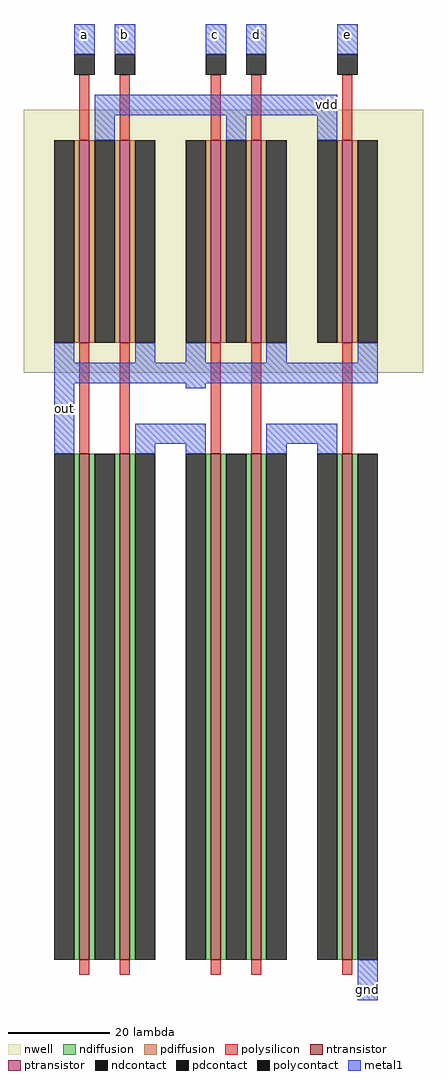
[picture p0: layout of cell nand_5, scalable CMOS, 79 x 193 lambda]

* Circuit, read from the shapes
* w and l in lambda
.subckt nand_5 a b c d e gnd out vdd
M1 n1 a out VSUBS nfet w=100 l=2
M2 n2 b n1 VSUBS nfet w=100 l=2
M3 n3 c n2 VSUBS nfet w=100 l=2
M4 n4 d n3 VSUBS nfet w=100 l=2
M5 gnd e n4 VSUBS nfet w=100 l=2
M6 vdd a out n5 pfet w=40 l=2
M7 out b vdd n5 pfet w=40 l=2
M8 vdd c out n5 pfet w=40 l=2
M9 out d vdd n5 pfet w=40 l=2
M10 out e vdd n5 pfet w=40 l=2
.ends

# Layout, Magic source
magic
tech scmos
<< nwell >>
rect -11 71 68 123
<< ntransistor >>
rect 0 -45 2 55
rect 8 -45 10 55
rect 26 -45 28 55
rect 34 -45 36 55
rect 52 -45 54 55
<< ptransistor >>
rect 0 77 2 117
rect 8 77 10 117
rect 26 77 28 117
rect 34 77 36 117
rect 52 77 54 117
<< ndiffusion >>
rect -1 -45 0 55
rect 2 -45 3 55
rect 7 -45 8 55
rect 10 -45 11 55
rect 25 -45 26 55
rect 28 -45 29 55
rect 33 -45 34 55
rect 36 -45 37 55
rect 51 -45 52 55
rect 54 -45 55 55
<< pdiffusion >>
rect -1 77 0 117
rect 2 77 3 117
rect 7 77 8 117
rect 10 77 11 117
rect 25 77 26 117
rect 28 77 29 117
rect 33 77 34 117
rect 36 77 37 117
rect 51 77 52 117
rect 54 77 55 117
<< ndcontact >>
rect -5 -45 -1 55
rect 3 -45 7 55
rect 11 -45 15 55
rect 21 -45 25 55
rect 29 -45 33 55
rect 37 -45 41 55
rect 47 -45 51 55
rect 55 -45 59 55
<< pdcontact >>
rect -5 77 -1 117
rect 3 77 7 117
rect 11 77 15 117
rect 21 77 25 117
rect 29 77 33 117
rect 37 77 41 117
rect 47 77 51 117
rect 55 77 59 117
<< polysilicon >>
rect 0 117 2 130
rect 8 117 10 130
rect 26 117 28 130
rect 34 117 36 130
rect 52 117 54 130
rect 0 55 2 77
rect 8 55 10 77
rect 26 55 28 77
rect 34 55 36 77
rect 52 55 54 77
rect 0 -48 2 -45
rect 8 -48 10 -45
rect 26 -48 28 -45
rect 34 -48 36 -45
rect 52 -48 54 -45
<< polycontact >>
rect -1 130 3 134
rect 7 130 11 134
rect 25 130 29 134
rect 33 130 37 134
rect 51 130 55 134
<< metal1 >>
rect -1 134 3 140
rect 7 134 11 140
rect 25 134 29 140
rect 33 134 37 140
rect 51 134 55 140
rect 3 122 51 126
rect 3 117 7 122
rect 29 117 33 122
rect 47 117 51 122
rect -5 73 -1 77
rect 11 73 15 77
rect 21 73 25 77
rect 37 73 41 77
rect 55 73 59 77
rect -5 69 59 73
rect -5 55 -1 69
rect 21 68 25 69
rect 11 57 25 61
rect 11 55 15 57
rect 21 55 25 57
rect 37 57 51 61
rect 37 55 41 57
rect 47 55 51 57
rect 55 -53 59 -45
<< labels >>
rlabel metal1 7 136 11 140 5 b
rlabel metal1 -1 136 3 140 5 a
rlabel metal1 -5 62 -1 66 1 out
rlabel metal1 47 122 51 126 1 vdd
rlabel metal1 55 -53 59 -49 1 gnd
rlabel metal1 25 136 29 140 5 c
rlabel metal1 33 136 37 140 5 d
rlabel metal1 51 136 55 140 5 e
<< end >>
